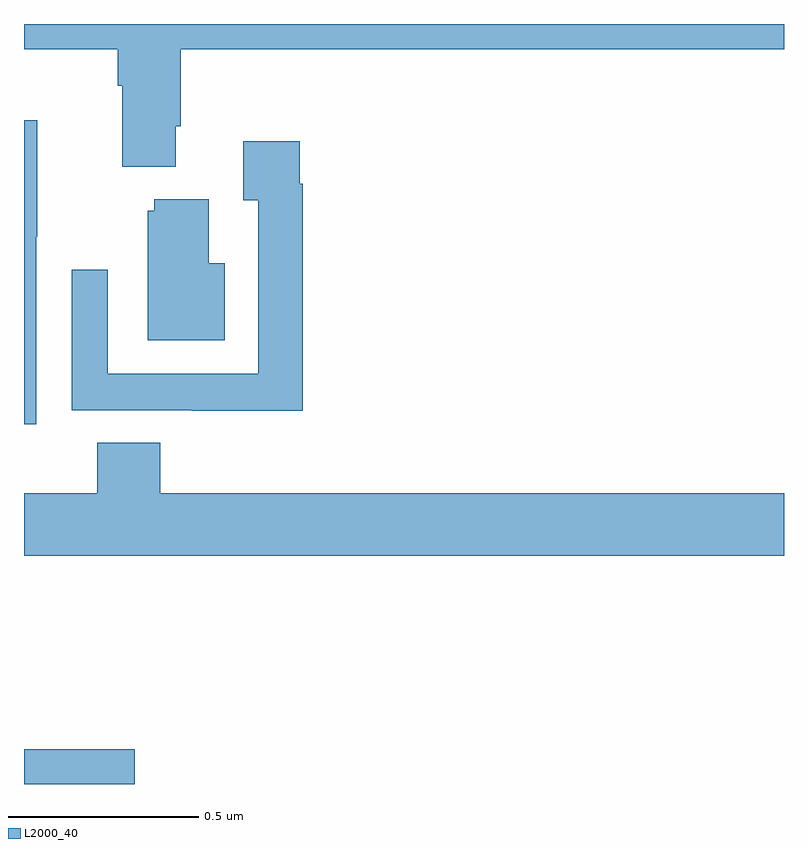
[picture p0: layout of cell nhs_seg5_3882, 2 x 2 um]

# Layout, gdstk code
import gdstk
lib = gdstk.Library(unit=1e-6, precision=1e-09)
def R(c, l, rs):  # rectangles x0, y0, x1, y1
    for r in rs: c.add(gdstk.rectangle(r[:2], r[2:], *l))
def P(c, l, *ps):  # polygons
    for p in ps: c.add(gdstk.Polygon(p, *l))
L2000_40 = (2000, 40)

nhs_seg5_3882 = lib.new_cell('nhs_seg5_3882')
R(nhs_seg5_3882, L2000_40, [(163,882.799,163.291,882.89)])
P(nhs_seg5_3882, L2000_40, [(163.399,884.53),(163.412,884.53),(163.412,884.732),(165,884.732),(165,884.799),(163,884.799),(163,884.732),(163.247,884.732),(163.247,884.636),(163.259,884.636),(163.259,884.423),(163.399,884.423)],
  [(163.032,884.239),(163.035,884.239),(163.035,884.546),(163,884.546),(163,883.746),(163.032,883.746)],
  [(163.733,884.378),(163.726,884.378),(163.726,884.491),(163.577,884.491),(163.577,884.335),(163.617,884.335),(163.617,883.878),(163.221,883.878),(163.221,884.152),(163.125,884.152),(163.125,883.782),(163.441,883.782),(163.441,883.781),(163.733,883.781)],
  [(163.528,884.17),(163.486,884.17),(163.486,884.338),(163.343,884.338),(163.343,884.307),(163.325,884.307),(163.325,883.967),(163.528,883.967)],
  [(165,883.564),(163.358,883.564),(163.358,883.697),(163.193,883.697),(163.193,883.564),(163,883.564),(163,883.4),(165,883.4)])

lib.write_gds('nhs_seg5_3882.gds')
